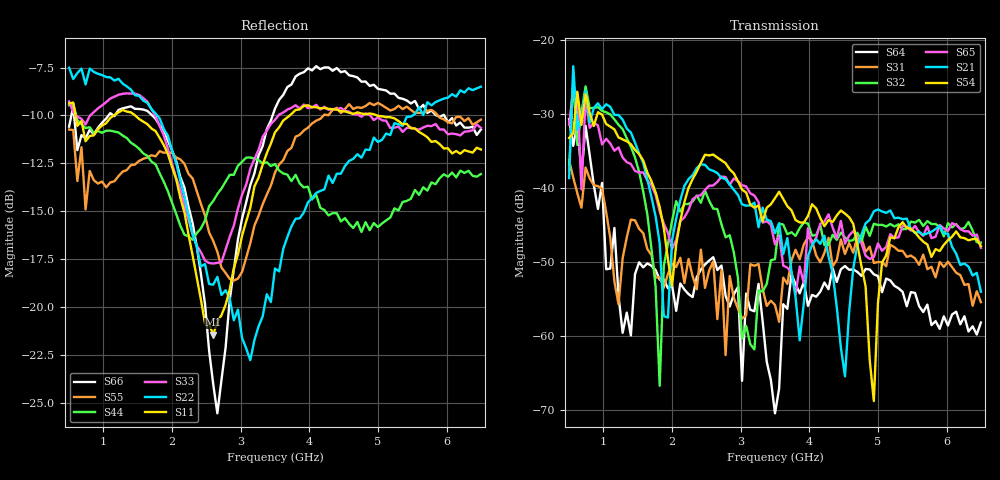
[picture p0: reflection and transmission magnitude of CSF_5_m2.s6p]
!Keysight Technologies,M9804A,MY58100912,A.14.10.03
!Date: Thursday, April 27, 2023 10:28:33
!Correction: S11(C  6-Port  )
!S12(C  6-Port  )
!S13(C  6-Port  )
!S14(C  6-Port  )
!S15(C  6-Port  )
!S16(C  6-Port  )
!S21(C  6-Port  )
!S22(C  6-Port  )
!S23(C  6-Port  )
!S24(C  6-Port  )
!S25(C  6-Port  )
!S26(C  6-Port  )
!S31(C  6-Port  )
!S32(C  6-Port  )
!S33(C  6-Port  )
!S34(C  6-Port  )
!S35(C  6-Port  )
!S36(C  6-Port  )
!S41(C  6-Port  )
!S42(C  6-Port  )
!S43(C  6-Port  )
!S44(C  6-Port  )
!S45(C  6-Port  )
!S46(C  6-Port  )
!S51(C  6-Port  )
!S52(C  6-Port  )
!S53(C  6-Port  )
!S54(C  6-Port  )
!S55(C  6-Port  )
!S56(C  6-Port  )
!S61(C  6-Port  )
!S62(C  6-Port  )
!S63(C  6-Port  )
!S64(C  6-Port  )
!S65(C  6-Port  )
!S66(C  6-Port  )
!S6P File: Measurement: :
# Hz S  RI  R 50
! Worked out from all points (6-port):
!   101 points, 500 MHz to 6.5 GHz, reference 50 ohm
!   strongest paths, dB at 500 MHz, 2 GHz, 3.5 GHz, 5 GHz, 6.5 GHz:
!     S54: -33.3, -53.3, -41.4, -55.6, -47.9
!     S21: -38.7, -47.1, -46.2, -43.0, -54.1
!     S65: -31.5, -48.3, -47.7, -47.6, -48.1
!     S32: -37.8, -44.5, -49.7, -45.1, -47.4
!     S31: -36.3, -50.3, -55.9, -50.1, -55.5
!     S64: -30.8, -53.2, -70.5, -52.0, -58.2
!   lowest |S11| = -21.4 dB at 2.6 GHz (marker M1), VSWR 1.19, Z = 42.5 + j2.28 ohm
!   |S11| at or under -10 dB: 593.2 MHz to 1.151 GHz (557.5 MHz wide, 63.9 % of centre); 1.462 GHz to 3.714 GHz (2.252 GHz wide, 87 % of centre); 4.986 GHz to end of sweep
